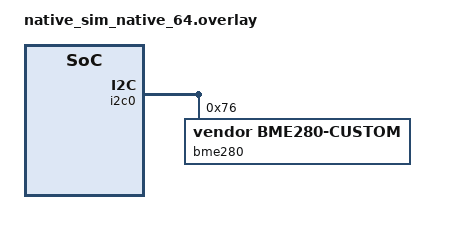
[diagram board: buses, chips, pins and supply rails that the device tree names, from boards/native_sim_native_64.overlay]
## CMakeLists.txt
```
# CMakeLists.txt — zephyr-edge-platform firmware application
#
# Application is the west manifest repository (T2 topology). The custom BME280
# driver lives in drivers/ as a standalone Zephyr module; we register it via
# ZEPHYR_EXTRA_MODULES *before* find_package(Zephyr) so its Kconfig, CMake, and
# devicetree bindings are picked up by the build.

cmake_minimum_required(VERSION 3.20.0)

# Register the in-repo driver module (drivers/zephyr/module.yml).
list(APPEND ZEPHYR_EXTRA_MODULES ${CMAKE_CURRENT_SOURCE_DIR}/drivers)

find_package(Zephyr REQUIRED HINTS $ENV{ZEPHYR_BASE})
project(zephyr_edge_platform)

target_sources(app PRIVATE
  src/main.c
  src/sensor_log.c
  src/power_sched.c
  src/telemetry/telemetry.c
  src/telemetry/telemetry_cbor.c
  src/ota/ota_update.c
  src/fault_inject.c
)

target_include_directories(app PRIVATE src src/telemetry src/ota)
```

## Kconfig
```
# Kconfig — zephyr-edge-platform application (top-level).
#
# The custom BME280 driver's symbols (BME280_CUSTOM / BME280_CUSTOM_EMUL) live
# in the driver module's Kconfig and are sourced automatically by the Zephyr
# build via the module system. Application-level symbols are in Kconfig.appdefs,
# which is also sourced by the ztest suites so they share one definition.

mainmenu "Zephyr Edge Platform"

source "Kconfig.zephyr"
source "$(APPLICATION_SOURCE_DIR)/Kconfig.appdefs"
```

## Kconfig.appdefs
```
# Kconfig.appdefs — application-level config symbols shared by the main app and
# the ztest suites. Contains only symbol definitions (no mainmenu, no
# `source "Kconfig.zephyr"`); the sourcing Kconfig file provides those.

config DEVICE_ID
	string "Device identifier"
	default "native-sim-001"
	help
	  Stable string identifier embedded in every telemetry payload
	  (telemetry map key 1). Fleet simulator devices use fleet-sim-<N>.

config SENSOR_LOG_BUF_SIZE
	int "Sensor log ring buffer size (bytes)"
	default 4096
	range 256 1048576
	help
	  Size in bytes of the ring buffer that stores timestamped BME280
	  readings before telemetry publication. Each record is
	  sizeof(struct sensor_reading) (24 bytes on the default 64-bit
	  native_sim target), so the 4096-byte default holds ~170 records.
	  Overflow overwrites the oldest record.

config POWER_ACTIVE_MS
	int "Power scheduler active window (ms)"
	default 5000
	range 1 3600000
	help
	  Duration of the active window each cycle: CPU runs, sensor is
	  sampled and logged.

config POWER_IDLE_MS
	int "Power scheduler idle window (ms)"
	default 100
	range 0 3600000
	help
	  Duration of the runtime-idle window between active and sleep.

config POWER_SLEEP_MS
	int "Power scheduler sleep window (ms)"
	default 5000
	range 0 3600000
	help
	  Duration of the suspend-to-idle sleep window each cycle. With the
	  defaults the device is active 5s then sleeps 5s (about 50% duty
	  cycle). Longer sleep windows save power but reduce telemetry rate and
	  command responsiveness; the MQTT session is still serviced every
	  CONFIG_POWER_SERVICE_INTERVAL_MS during sleep.

config POWER_SERVICE_INTERVAL_MS
	int "Power scheduler service-callback interval (ms)"
	default 100
	range 10 5000
	help
	  During the sleep window the scheduler invokes the registered service
	  callback (telemetry_process) at this interval, so MQTT keepalive,
	  PUBACK, and OTA frames are handled without waiting for the next full
	  wake cycle.

config MQTT_BROKER_HOST
	string "MQTT broker IPv4 address"
	default "192.0.2.2"
	help
	  IPv4 address of the MQTT broker the telemetry publisher connects to.
	  The default (192.0.2.2) is the standard Zephyr native host-bridge
	  address used by net-setup.sh / the docker-compose e2e stack; override
	  it for a different network topology. native_sim reaches the host
	  broker through the TAP ethernet driver (CONFIG_ETH_NATIVE_POSIX), so
	  live publication requires host-side bridge setup (see infra/README.md).

config MQTT_BROKER_PORT
	int "MQTT broker port"
	default 8883 if MQTT_TLS
	default 1883
	range 1 65535
	help
	  TCP port of the MQTT broker. The default is 8883 with MQTT_TLS and
	  1883 for explicitly unencrypted builds.

config MQTT_TLS
	bool "MQTT over TLS"
	default y
	help
	  Connect with TLS using the embedded development CA certificate. The
	  broker certificate must chain to it and must match
	  MQTT_TLS_SERVER_NAME. Disable only for an isolated, explicitly
	  unencrypted test setup.

config MQTT_TLS_SERVER_NAME
	string "MQTT TLS server name (SNI/certificate verification)"
	default "broker"
	depends on MQTT_TLS
	help
	  Hostname presented in SNI and matched against the server certificate.
	  The committed dev certificate includes DNS:broker, DNS:mosquitto,
	  DNS:localhost, and the native_sim TAP addresses.

config MQTT_USERNAME
	string "MQTT username"
	default "edge-device"
	help
	  Username sent in CONNECT. Change for any real deployment; the
	  committed password file is development-only.

config MQTT_PASSWORD
	string "MQTT password"
	default "change-me"
	help
	  Password sent in CONNECT. The committed credentials are for the local
	  development stack only; use a secret for real deployments.

config MQTT_TELEMETRY_TOPIC_FMT
	string "Telemetry topic format (printf-style, one %s = device_id)"
	default "telemetry/%s"
	help
	  printf-style topic the telemetry publisher publishes to. The single
	  %s is replaced with CONFIG_DEVICE_ID, yielding e.g.
	  telemetry/native-sim-001. The cloud ingestion service
	  subscribes to the matching wildcard (telemetry/+).

config MQTT_CONNECT_TIMEOUT_MS
	int "MQTT connect timeout (ms)"
	default 5000
	range 100 60000
	help
	  How long telemetry_connect() waits for CONNACK before giving up and
	  returning -ETIMEDOUT. Connection is non-fatal: the application keeps
	  sampling/logging and retries on the next cycle.

config TELEMETRY_RX_PAYLOAD_MAX
	int "Maximum inbound PUBLISH payload read in one event (bytes)"
	default 600
	range 64 4096
	help
	  telemetry.c reads inbound PUBLISH payloads from the socket into a
	  fixed buffer before dispatching them to the registered handler (OTA).
	  Must be at least CONFIG_OTA_CHUNK_SIZE + 1 for OTA data frames; larger
	  payloads are drained and discarded with a warning.

# --- Phase 3: OTA ---

config OTA_CMD_TOPIC_FMT
	string "OTA command topic format (printf-style, one %s = device_id)"
	default "cmd/%s/ota"
	help
	  printf-style topic the OTA subscriber listens on for firmware update
	  frames. The single %s is replaced with CONFIG_DEVICE_ID, yielding
	  e.g. cmd/native-sim-001/ota (docs/DATA_MODEL.md §4). Frames are one
	  byte of opcode plus an optional big-endian size or raw image chunk;
	  see docs/OTA.md.

config OTA_MAX_IMAGE_SIZE
	int "Maximum OTA firmware image size (bytes)"
	default 262144
	range 4096 1048576
	help
	  Maximum size of a firmware image accepted via OTA. Images larger than
	  this are rejected before any flash writes begin.

config OTA_CHUNK_SIZE
	int "OTA flash write chunk size (bytes)"
	default 512
	range 64 4096
	help
	  Size of each chunk written to the flash simulator during OTA image
	  reception. Must be a multiple of the flash write block size.

# --- Phase 3: Fault injection ---

config FAULT_INJECT
	bool "Fault injection framework"
	default n
	help
	  Enable the fault injection framework. Individual fault modes are
	  gated by their own Kconfig symbols below. The main application keeps
	  this off by default; the fault_inject ztest suite enables it and all
	  modes. When disabled, all fault_inject_*() calls compile to no-ops.

config FAULT_INJECT_SENSOR_FAIL
	bool "Inject sensor read failures"
	default n
	depends on FAULT_INJECT
	help
	  When enabled, the application's sample path checks
	  fault_inject_sensor_check() before sensor_sample_fetch() and skips
	  the sample with -EIO, simulating a sensor hardware failure.

config FAULT_INJECT_FLASH_CORRUPT
	bool "Inject flash corruption"
	default n
	depends on FAULT_INJECT
	help
	  When enabled, OTA image bytes written to flash are inverted to
	  simulate flash media degradation (fault_inject_flash_corrupt_byte()
	  is applied in ota_write_chunk()).

config FAULT_INJECT_DROP_PACKETS
	bool "Inject MQTT packet drops"
	default n
	depends on FAULT_INJECT
	help
	  When enabled, the application's telemetry drain loop skips MQTT
	  publishes (the reading is still consumed) to simulate network packet
	  loss; the drop is logged and counted.
```

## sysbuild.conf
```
# Build the real bootloader path:
#   west build -b nrf52840dk/nrf52840 --sysbuild -d build-hil firmware
# MCUboot verifies the signed application and performs the swap on reboot.
SB_CONFIG_BOOTLOADER_MCUBOOT=y
```

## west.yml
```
# west.yml — zephyr-edge-platform firmware workspace manifest
#
# `firmware/` is the west manifest repository. Initialize the workspace from
# the monorepo root with:   west init -l firmware   (see ../justfile `init`)
# `west update` then clones Zephyr (and its imported modules) as siblings of
# firmware/. The custom BME280 driver is a local Zephyr module under
# firmware/drivers/ and is registered via ZEPHYR_EXTRA_MODULES in CMakeLists.txt
# (it is NOT a west project, so it needs no entry here).

manifest:
  remotes:
    - name: zephyrproject-rtos
      url-base: https://github.com/zephyrproject-rtos

  projects:
    - name: zephyr
      remote: zephyrproject-rtos
      revision: v4.1.0
      # `import: true` pulls in Zephyr's own module list (HALs, crypto, etc.)
      # required by the build system even for native_sim.
      import: true
```

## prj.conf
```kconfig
# prj.conf — zephyr-edge-platform firmware (native_sim)
#
# Subsystem enablement for Phase 1: custom BME280 I2C sensor driver, I2C
# emulator (native_sim), ring-buffered sensor logging, low-power scheduler,
# and logging.
#
# Power management note: CONFIG_PM depends on HAS_PM, which native_sim does not
# select, so the Zephyr PM policy calls in power_sched.c compile out on
# native_sim (guarded by `#if defined(CONFIG_PM)`). The scheduler still cycles
# ACTIVE -> IDLE -> SLEEP and tracks per-state time in software. The current
# nRF52840 Zephyr config does not select HAS_PM either, so the numbers remain a
# software time distribution; real current measurement needs a PPK2.

# --- Logging ---
CONFIG_LOG=y
CONFIG_LOG_DEFAULT_LEVEL=3

# --- Sensor subsystem + custom BME280 driver ---
CONFIG_SENSOR=y
CONFIG_BME280_CUSTOM=y

# --- I2C bus + native_sim I2C emulator ---
CONFIG_I2C=y
CONFIG_I2C_EMUL=y
CONFIG_EMUL=y
CONFIG_BME280_CUSTOM_EMUL=y

# --- Ring buffer (sensor_log) ---
CONFIG_RING_BUFFER=y

# --- Console so `just run` shows the app loop on stdout (native_sim) ---
CONFIG_CONSOLE=y

# --- Phase 2: MQTT telemetry (CBOR-encoded) ---
# CBOR encoder library (zcbor; CONFIG_ZCBOR) for the telemetry payload
# (docs/DATA_MODEL.md).
CONFIG_ZCBOR=y

# Zephyr MQTT client library (selects NET_SOCKETS) + TLS.
CONFIG_MQTT_LIB=y
CONFIG_MQTT_LIB_TLS=y
CONFIG_NET_SOCKETS_SOCKOPT_TLS=y
CONFIG_TLS_CREDENTIALS=y
CONFIG_MBEDTLS=y
CONFIG_MBEDTLS_BUILTIN=y
CONFIG_MBEDTLS_ENABLE_HEAP=y
CONFIG_MBEDTLS_HEAP_SIZE=30000
CONFIG_MBEDTLS_SSL_MAX_CONTENT_LEN=4096
CONFIG_MBEDTLS_PEM_CERTIFICATE_FORMAT=y
# TLS 1.2 ECDHE-RSA (the Mosquitto default cipher set is not RSA-only).
CONFIG_MBEDTLS_ECP_C=y
CONFIG_MBEDTLS_ECDH_C=y
CONFIG_MBEDTLS_ECP_DP_SECP256R1_ENABLED=y
CONFIG_MBEDTLS_KEY_EXCHANGE_ECDHE_RSA_ENABLED=y

# Native networking stack for native_sim (telemetry.c uses the native
# zsock_* socket API). The board defaults to the TAP ethernet driver
# (CONFIG_ETH_NATIVE_POSIX) when NETWORKING is enabled, so live publication to
# a host broker requires the host-side bridge (see infra/README.md and the
# plan's documented limitation).
CONFIG_NETWORKING=y
CONFIG_NET_NATIVE=y
CONFIG_NET_SOCKETS=y
CONFIG_NET_TCP=y
CONFIG_NET_IPV4=y
CONFIG_NET_UDP=n

# Static IPv4 config: device 192.0.2.1, host/gateway 192.0.2.2 (the standard
# Zephyr native net-setup topology; the broker is reached at the gateway).
CONFIG_NET_CONFIG_SETTINGS=y
CONFIG_NET_CONFIG_MY_IPV4_ADDR="192.0.2.1"
CONFIG_NET_CONFIG_PEER_IPV4_ADDR="192.0.2.2"

# Random/entropy for the network stack on native_sim.
CONFIG_TEST_RANDOM_GENERATOR=y

# Networking + MQTT + OTA need a larger main stack than the sensor loop,
# especially on 64-bit targets.
CONFIG_MAIN_STACK_SIZE=16384

# --- Phase 3: MCUboot OTA (native_sim simulation) ---
# Flash simulator for OTA image staging on native_sim.
CONFIG_FLASH_SIMULATOR=y

# MCUboot image manager (img_manager) for image validation and swap control.
# Note: CONFIG_BOOTLOADER_MCUBOOT is NOT enabled on native_sim because it
# requires HAS_FLASH_LOAD_OFFSET which native_sim does not provide. The OTA
# module uses the img_manager API directly for simulation purposes.
CONFIG_IMG_MANAGER=y
CONFIG_IMG_BLOCK_BUF_SIZE=512
# Erase slot1 pages as chunks arrive (required for NOR flash and the simulator).
CONFIG_IMG_ERASE_PROGRESSIVELY=y

# Stream flash for chunked OTA image writes.
CONFIG_STREAM_FLASH=y

# Flash subsystem (required by IMG_MANAGER and STREAM_FLASH).
CONFIG_FLASH=y
CONFIG_FLASH_MAP=y
CONFIG_FLASH_PAGE_LAYOUT=y

# --- Phase 3: Fault injection (Kconfig-gated) ---
# The framework is compiled out of the production app by default. The
# fault_inject ztest suite enables the framework and all fault modes.
CONFIG_FAULT_INJECT=n
```

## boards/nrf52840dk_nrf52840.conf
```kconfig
# nRF52840 DK hardware build.
#
# Disable native_sim-only emulators/simulators. The default sysbuild path adds
# MCUboot; see firmware/sysbuild.conf and tests/hil/README.md.
#
# CONFIG_PM is left to the SoC; power_sched's PM guards compile out when the
# target does not select HAS_PM (as with this Zephyr nRF52840 config).

CONFIG_PM_DEVICE=y

CONFIG_I2C_EMUL=n
CONFIG_EMUL=n
CONFIG_BME280_CUSTOM_EMUL=n
CONFIG_FLASH_SIMULATOR=n
CONFIG_TEST_RANDOM_GENERATOR=n
CONFIG_NET_NATIVE=n
```

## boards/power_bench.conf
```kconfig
# power_bench.conf — short power-scheduler windows for the host benchmark.
#
# tests/scripts/power_bench.sh runs the native_sim binary for a few seconds and
# parses the cumulative "power:" log lines. The default 10s cycle would produce
# no samples in that window, so `just power-bench` builds with this overlay.
CONFIG_POWER_ACTIVE_MS=500
CONFIG_POWER_IDLE_MS=100
CONFIG_POWER_SLEEP_MS=500
```

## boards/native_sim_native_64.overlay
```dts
/*
 * native_sim.overlay — BME280 device instance on the native_sim I2C emulator.
 *
 * native_sim's board DTS already provides an I2C emulator controller at &i2c0
 * (compatible "zephyr,i2c-emul-controller", enabled by CONFIG_I2C_EMUL). We
 * attach the BME280 child node at I2C address 0x76; it is backed by the custom
 * driver's emulator (drivers/sensor/bme280_custom/bme280_emul.c), which presents
 * a full BME280 register file with calibration + raw ADC values that compensate
 * to known physical values (see docs/DATA_MODEL.md and the bme280 ztest).
 */

&i2c0 {
	status = "okay";

	bme280@76 {
		compatible = "vendor,bme280-custom";
		reg = <0x76>;
		status = "okay";
	};
};
```

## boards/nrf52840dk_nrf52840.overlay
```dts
/*
 * nRF52840 DK: real MCUboot layout + BME280 on the Arduino I2C header.
 *
 * slot0/slot1 are 448 KiB each; the app links at slot0. MCUboot uses the
 * default swap-using-move mode from firmware/sysbuild.conf and verifies the
 * signed image before booting it.
 */
/delete-node/ &boot_partition;
/delete-node/ &slot0_partition;
/delete-node/ &slot1_partition;

/ {
	chosen {
		zephyr,code-partition = &slot0_partition;
	};
};

&i2c0 {
	status = "okay";

	bme280@76 {
		compatible = "vendor,bme280-custom";
		reg = <0x76>;
		status = "okay";
	};
};

&flash0 {
	partitions {
		compatible = "fixed-partitions";
		#address-cells = <1>;
		#size-cells = <1>;

		boot_partition: partition@0 {
			label = "mcuboot";
			reg = <0x00000000 0x00010000>;
		};
		slot0_partition: partition@10000 {
			label = "image-0";
			reg = <0x00010000 0x00070000>;
		};
		slot1_partition: partition@80000 {
			label = "image-1";
			reg = <0x00080000 0x00070000>;
		};
		scratch_partition: partition@f0000 {
			label = "image-scratch";
			reg = <0x000f0000 0x00010000>;
		};
	};
};
```

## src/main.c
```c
/*
 * main.c — zephyr-edge-platform application loop.
 *
 * Wires the platform subsystems together:
 *   1. Custom BME280 I2C sensor driver  (drivers/sensor/bme280_custom)
 *   2. Ring-buffered sensor logging      (sensor_log.c)
 *   3. Low-power sleep/wake scheduler    (power_sched.c)
 *   4. MQTT/CBOR telemetry publisher     (telemetry/, Phase 2)
 *   5. MQTT-triggered OTA receiver       (ota/ota_update.c, Phase 3)
 *   6. Kconfig-gated fault-injection hooks (fault_inject.c)
 *
 * Each wake cycle, the power scheduler invokes an active-window callback that
 * samples the BME280 and pushes a timestamped reading into the ring buffer.
 * The main loop then drains the ring buffer and publishes each reading as a
 * CBOR-encoded MQTT telemetry message (docs/DATA_MODEL.md §1) to
 * telemetry/<device_id>, then services the MQTT connection (keepalive,
 * PUBACK, inbound OTA frames) and logs power-state statistics.
 *
 * During the sleep window the scheduler calls telemetry_process() every
 * CONFIG_POWER_SERVICE_INTERVAL_MS so OTA frames and keepalive are handled even
 * while the CPU is mostly asleep.
 *
 * Telemetry is best-effort: if the broker is unreachable (e.g. native_sim
 * without host TAP/bridge setup), readings stay queued in the ring buffer and
 * the sensor / logging / power loop continues unaffected.
 *
 * Log values are printed in integer milli-units to avoid pulling in floating
 * point printf support on the console.
 */

#include <stdio.h>

#include <zephyr/device.h>
#include <zephyr/drivers/sensor.h>
#include <zephyr/kernel.h>
#include <zephyr/logging/log.h>

#include "fault_inject.h"
#include "ota/ota_update.h"
#include "power_sched.h"
#include "sensor_log.h"
#include "telemetry.h"

LOG_MODULE_REGISTER(APP, CONFIG_LOG_DEFAULT_LEVEL);

static const struct device *const bme280 =
	DEVICE_DT_GET_ONE(vendor_bme280_custom);

/* One reading retained across a failed publish attempt so it is not lost. */
static struct sensor_reading pending_reading;
static bool pending_valid;
static uint32_t telemetry_dropped;

/* Active-window callback: sample the BME280 and store a reading. */
static void sample_and_log(void *user_data)
{
	ARG_UNUSED(user_data);
	struct sensor_value temp;
	struct sensor_value hum;
	struct sensor_value press;

	if (fault_inject_sensor_check() != 0) {
		LOG_WRN("sensor fault injected — skipping sample");
		return;
	}

	if (sensor_sample_fetch(bme280) < 0) {
		LOG_ERR("BME280 sample_fetch failed");
		return;
	}
	if (sensor_channel_get(bme280, SENSOR_CHAN_AMBIENT_TEMP, &temp) < 0 ||
	    sensor_channel_get(bme280, SENSOR_CHAN_HUMIDITY, &hum) < 0 ||
	    sensor_channel_get(bme280, SENSOR_CHAN_PRESS, &press) < 0) {
		LOG_ERR("BME280 channel_get failed");
		return;
	}

	struct sensor_reading reading = {
		.timestamp_ms = k_uptime_get(),
		.temperature_mc = (int32_t)(sensor_value_to_double(&temp) * 1000.0),
		.humidity_mpct = (int32_t)(sensor_value_to_double(&hum) * 1000.0),
		.pressure_pa = (int32_t)(sensor_value_to_double(&press) * 1000.0),
	};

	if (sensor_log_put(&reading) == 0) {
		LOG_INF("sample: T=%d mC  H=%d m%%RH  P=%d Pa", reading.temperature_mc,
			reading.humidity_mpct, reading.pressure_pa);
	}
}

/* Sleep-window service callback: keep the MQTT session responsive. */
static void service_telemetry(void *user_data)
{
	ARG_UNUSED(user_data);
	telemetry_process();
}

/*
 * Publish one reading. Returns 0 if the reading was consumed (published or
 * dropped by fault injection), negative errno if it must be retried.
 */
static int publish_reading(const struct sensor_reading *reading,
			   const struct power_stats *stats)
{
	if (fault_inject_should_drop_packet()) {
		telemetry_dropped++;
		LOG_DBG("packet fault injected — dropping publish");
		return 0;
	}

	int rc = telemetry_publish_reading(reading, stats,
					   (uint32_t)power_sched_state());

	if (rc != 0) {
		LOG_WRN("telemetry publish failed: %d", rc);
		return rc;
	}

	return 0;
}

/*
 * Drain the ring buffer and publish each reading as CBOR telemetry. Attempts a
 * (re)connect once per call when disconnected; if the broker is still
 * unreachable the ring buffer is left intact for the next cycle.
 */
static void drain_and_publish(void)
{
	struct power_stats st;

	if (!telemetry_is_connected() && telemetry_connect() != 0) {
		/* Keep readings queued instead of popping and discarding them. */
		telemetry_process();
		return;
	}

	power_sched_get_stats(&st);

	if (pending_valid) {
		if (publish_reading(&pending_reading, &st) != 0) {
			return;
		}
		LOG_INF("[telemetry] retried pending reading ts=%lld ms",
			(long long)pending_reading.timestamp_ms);
		pending_valid = false;
	}

	struct sensor_reading reading;

	while (sensor_log_get(&reading) == 0) {
		if (publish_reading(&reading, &st) != 0) {
			pending_reading = reading;
			pending_valid = true;
			break;
		}
		LOG_INF("[telemetry] published ts=%lld ms T=%d mC H=%d m%%RH "
			"P=%d Pa",
			(long long)reading.timestamp_ms, reading.temperature_mc,
			reading.humidity_mpct, reading.pressure_pa);
	}

	/* Drive keepalive + PUBACK + inbound PUBLISH processing. */
	telemetry_process();
}

/* Dispatch inbound OTA frames from the shared MQTT client. */
static bool on_telemetry_publish(const struct mqtt_topic *topic,
				 const uint8_t *payload, size_t len)
{
	if (!ota_matches_topic(topic)) {
		return false;
	}
	return ota_handle_frame(payload, len);
}

static void on_telemetry_connection(bool connected)
{
	if (connected) {
		ota_on_connected(telemetry_client());
	} else {
		ota_on_disconnected();
	}
}

int main(void)
{
	LOG_INF("zephyr-edge-platform starting (device_id=\"%s\")", CONFIG_DEVICE_ID);

	if (!device_is_ready(bme280)) {
		LOG_ERR("BME280 device not ready");
		return -ENODEV;
	}

	sensor_log_init();
	fault_inject_init();
	power_sched_init(sample_and_log, NULL);
	if (power_sched_set_service(service_telemetry, NULL, 0) != 0) {
		LOG_ERR("failed to register telemetry service callback");
		return -EINVAL;
	}

	/* MQTT telemetry + OTA receiver (best-effort connect). */
	telemetry_init();
	if (ota_init() != 0) {
		LOG_ERR("OTA init failed; OTA disabled");
	}
	telemetry_set_publish_handler(on_telemetry_publish);
	telemetry_set_connection_handler(on_telemetry_connection);
	(void)telemetry_connect();

	LOG_INF("entering wake/sample/log/sleep loop: %d ms active + %d ms idle + "
		"%d ms sleep per cycle; service every %d ms",
		CONFIG_POWER_ACTIVE_MS, CONFIG_POWER_IDLE_MS, CONFIG_POWER_SLEEP_MS,
		CONFIG_POWER_SERVICE_INTERVAL_MS);

	while (1) {
		power_sched_run_cycles(1);
		drain_and_publish();

		struct power_stats st;

		power_sched_get_stats(&st);
		LOG_INF("power: cycles=%u active=%llu ms idle=%llu ms sleep=%llu ms "
			"(ring_dropped=%u pub_dropped=%u)",
			st.cycles, (unsigned long long)st.active_ms,
			(unsigned long long)st.idle_ms,
			(unsigned long long)st.sleep_ms, sensor_log_dropped(),
			telemetry_dropped);
	}

	return 0;
}
```

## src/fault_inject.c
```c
/*
 * fault_inject.c — Fault injection framework (Kconfig-gated).
 *
 * Implements the runtime fault injection hooks described in fault_inject.h.
 * Each fault mode is independently gated at compile time (Kconfig) and at
 * runtime (atomic flag). When CONFIG_FAULT_INJECT is disabled, the entire
 * file compiles to empty stubs via the #if guard.
 */

#include <errno.h>
#include <string.h>

#include <zephyr/kernel.h>
#include <zephyr/logging/log.h>

#include "fault_inject.h"

#if defined(CONFIG_FAULT_INJECT)

LOG_MODULE_REGISTER(FAULT_INJECT, CONFIG_LOG_DEFAULT_LEVEL);

/* Runtime enable flags for each fault mode (atomic for thread safety). */
static atomic_t fault_flags[FAULT_MODE_COUNT];

int fault_inject_init(void)
{
	for (int i = 0; i < FAULT_MODE_COUNT; i++) {
		atomic_set(&fault_flags[i], 0);
	}
	LOG_INF("fault injection framework initialized");
	return 0;
}

void fault_inject_set(enum fault_mode mode, bool enabled)
{
	if (mode >= FAULT_MODE_COUNT) {
		return;
	}

#if defined(CONFIG_FAULT_INJECT_SENSOR_FAIL)
	if (mode == FAULT_MODE_SENSOR_FAIL) {
		atomic_set(&fault_flags[mode], enabled ? 1 : 0);
		LOG_INF("FAULT_MODE_SENSOR_FAIL %s", enabled ? "enabled" : "disabled");
		return;
	}
#endif

#if defined(CONFIG_FAULT_INJECT_FLASH_CORRUPT)
	if (mode == FAULT_MODE_FLASH_CORRUPT) {
		atomic_set(&fault_flags[mode], enabled ? 1 : 0);
		LOG_INF("FAULT_MODE_FLASH_CORRUPT %s", enabled ? "enabled" : "disabled");
		return;
	}
#endif

#if defined(CONFIG_FAULT_INJECT_DROP_PACKETS)
	if (mode == FAULT_MODE_DROP_PACKETS) {
		atomic_set(&fault_flags[mode], enabled ? 1 : 0);
		LOG_INF("FAULT_MODE_DROP_PACKETS %s", enabled ? "enabled" : "disabled");
		return;
	}
#endif

	/* Mode not compiled in — silently ignore. */
	ARG_UNUSED(enabled);
}

bool fault_inject_is_active(enum fault_mode mode)
{
	if (mode >= FAULT_MODE_COUNT) {
		return false;
	}
	return atomic_get(&fault_flags[mode]) != 0;
}

int fault_inject_sensor_check(void)
{
#if defined(CONFIG_FAULT_INJECT_SENSOR_FAIL)
	if (atomic_get(&fault_flags[FAULT_MODE_SENSOR_FAIL]) != 0) {
		LOG_DBG("fault injected: sensor read failure");
		return -EIO;
	}
#endif
	return 0;
}

uint8_t fault_inject_flash_corrupt_byte(uint8_t byte)
{
#if defined(CONFIG_FAULT_INJECT_FLASH_CORRUPT)
	if (atomic_get(&fault_flags[FAULT_MODE_FLASH_CORRUPT]) != 0) {
		/* Invert all bits to simulate flash corruption. */
		return (uint8_t)(~byte);
	}
#endif
	return byte;
}

bool fault_inject_should_drop_packet(void)
{
#if defined(CONFIG_FAULT_INJECT_DROP_PACKETS)
	if (atomic_get(&fault_flags[FAULT_MODE_DROP_PACKETS]) != 0) {
		LOG_DBG("fault injected: packet dropped");
		return true;
	}
#endif
	return false;
}

void fault_inject_reset(void)
{
	for (int i = 0; i < FAULT_MODE_COUNT; i++) {
		atomic_set(&fault_flags[i], 0);
	}
	LOG_DBG("all fault modes reset");
}

#else /* !CONFIG_FAULT_INJECT */

/* Stubs when the framework is disabled: zero overhead. */

int fault_inject_init(void) { return 0; }
void fault_inject_set(enum fault_mode mode, bool enabled)
{
	ARG_UNUSED(mode);
	ARG_UNUSED(enabled);
}
bool fault_inject_is_active(enum fault_mode mode)
{
	ARG_UNUSED(mode);
	return false;
}
int fault_inject_sensor_check(void) { return 0; }
uint8_t fault_inject_flash_corrupt_byte(uint8_t byte) { return byte; }
bool fault_inject_should_drop_packet(void) { return false; }
void fault_inject_reset(void) {}

#endif /* CONFIG_FAULT_INJECT */
```

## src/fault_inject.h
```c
/*
 * fault_inject.h — Fault injection framework (Kconfig-gated).
 *
 * Provides runtime-controllable fault injection for testing resilience:
 *   - CONFIG_FAULT_INJECT_SENSOR_FAIL: sensor reads return -EIO
 *   - CONFIG_FAULT_INJECT_FLASH_CORRUPT: flash writes are silently corrupted
 *   - CONFIG_FAULT_INJECT_DROP_PACKETS: MQTT publishes are silently dropped
 *
 * When CONFIG_FAULT_INJECT is disabled, all fault_inject_*() calls compile to
 * no-ops (zero overhead). Individual fault modes are further gated by their
 * own Kconfig symbols.
 *
 * Usage:
 *   fault_inject_init();                          // once at startup
 *   fault_inject_set(FAULT_MODE_SENSOR_FAIL, true);  // enable sensor failures
 *   ... run tests ...
 *   fault_inject_set(FAULT_MODE_SENSOR_FAIL, false); // disable
 *
 * The ztest suite enables each mode, exercises the affected path, and asserts
 * the expected failure behavior.
 */
#ifndef ZEPHYR_EDGE_PLATFORM_FAULT_INJECT_H_
#define ZEPHYR_EDGE_PLATFORM_FAULT_INJECT_H_

#include <stdbool.h>
#include <stdint.h>

/* Fault injection modes. */
enum fault_mode {
	FAULT_MODE_SENSOR_FAIL = 0,   /* Sensor reads return -EIO          */
	FAULT_MODE_FLASH_CORRUPT,     /* Flash writes are corrupted        */
	FAULT_MODE_DROP_PACKETS,      /* MQTT publishes are dropped        */
	FAULT_MODE_COUNT,             /* Number of fault modes             */
};

/*
 * Initialize the fault injection framework. All modes start disabled.
 * Idempotent. Returns 0 on success.
 */
int fault_inject_init(void);

/*
 * Enable or disable a fault mode at runtime. Only effective when the
 * corresponding Kconfig symbol is enabled; otherwise a no-op.
 */
void fault_inject_set(enum fault_mode mode, bool enabled);

/* Query whether a fault mode is currently active. */
bool fault_inject_is_active(enum fault_mode mode);

/*
 * Sensor fault hook: call before/instead of sensor_sample_fetch().
 * Returns -EIO if FAULT_MODE_SENSOR_FAIL is active, 0 otherwise.
 */
int fault_inject_sensor_check(void);

/*
 * Flash corruption hook: call on each byte before writing to flash.
 * Returns the (possibly corrupted) byte value.
 */
uint8_t fault_inject_flash_corrupt_byte(uint8_t byte);

/*
 * Packet drop hook: call before mqtt_publish().
 * Returns true if the packet should be dropped (caller returns 0 without
 * sending), false if the packet should proceed normally.
 */
bool fault_inject_should_drop_packet(void);

/* Reset all fault modes to disabled (for testing). */
void fault_inject_reset(void);

#endif /* ZEPHYR_EDGE_PLATFORM_FAULT_INJECT_H_ */
```

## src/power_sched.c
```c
/*
 * power_sched.c — Low-power sleep/wake scheduler (Zephyr PM subsystem).
 *
 * Implements the wake -> sample -> log -> sleep cycle described in
 * power_sched.h. A PM policy lock keeps the CPU awake during the active/idle
 * windows and is released during the sleep window so the PM subsystem may
 * suspend. The lock is tracked so it is acquired/released exactly once per
 * transition (balanced even when CONFIG_PM is enabled on real hardware).
 *
 * All window durations are runtime-configurable to keep the ztest suite fast and
 * deterministic. power_sched_init() (re)configures the callback and zeroes the
 * counters on every call so the suite can establish a clean slate per test.
 */

#include <errno.h>
#include <string.h>

#include <zephyr/kernel.h>
#include <zephyr/logging/log.h>

#if defined(CONFIG_PM)
#include <zephyr/pm/pm.h>
#include <zephyr/pm/policy.h>
#endif

#include "power_sched.h"

LOG_MODULE_REGISTER(POWER_SCHED, CONFIG_LOG_DEFAULT_LEVEL);

static power_sched_active_fn active_cb;
static void *active_user_data;

static power_sched_service_fn service_cb;
static void *service_user_data;
static uint32_t service_interval_ms = CONFIG_POWER_SERVICE_INTERVAL_MS;

static uint32_t active_ms = CONFIG_POWER_ACTIVE_MS;
static uint32_t idle_ms = CONFIG_POWER_IDLE_MS;
static uint32_t sleep_ms = CONFIG_POWER_SLEEP_MS;

static struct power_stats stats;
static atomic_t current_state = POWER_STATE_ACTIVE;
static bool initialized;
static bool awake_lock_held;

/* Background thread bookkeeping. */
static K_THREAD_STACK_DEFINE(sched_stack, 2048);
static struct k_thread sched_thread;
static k_tid_t sched_tid;
static atomic_t stop_requested;

/* --- PM policy helpers (no-ops when CONFIG_PM is disabled) --- */

static void prevent_suspend(void)
{
#if defined(CONFIG_PM)
	pm_policy_state_lock_get(PM_STATE_SUSPEND_TO_IDLE, PM_ALL_SUBSTATES);
#endif
}

static void allow_suspend(void)
{
#if defined(CONFIG_PM)
	pm_policy_state_lock_put(PM_STATE_SUSPEND_TO_IDLE, PM_ALL_SUBSTATES);
#endif
}

/* Idempotently drive the awake lock so get/put stay balanced. */
static void set_awake(bool awake)
{
	if (awake && !awake_lock_held) {
		prevent_suspend();
		awake_lock_held = true;
	} else if (!awake && awake_lock_held) {
		allow_suspend();
		awake_lock_held = false;
	}
}

/*
 * Sleep for `ms` milliseconds, returning the actual elapsed time. When
 * `service` is true and a service callback is registered, the sleep is split
 * into interval-sized chunks so MQTT input/keepalive and OTA frames are
 * handled during the sleep window without waiting for the next full wake.
 */
static uint64_t sleep_measure(uint32_t ms, bool service)
{
	int64_t start = k_uptime_get();
	uint32_t remaining = ms;

	if (ms == 0) {
		return 0;
	}

	if (!service || service_cb == NULL || service_interval_ms == 0) {
		k_msleep(ms);
	} else {
		while (remaining > 0) {
			uint32_t chunk = MIN(remaining, service_interval_ms);

			k_msleep(chunk);
			remaining -= chunk;
			service_cb(service_user_data);
		}
	}

	return (uint64_t)(k_uptime_get() - start);
}

int power_sched_init(power_sched_active_fn cb, void *user_data)
{
	active_cb = cb;
	active_user_data = user_data;
	service_cb = NULL;
	service_user_data = NULL;
	service_interval_ms = CONFIG_POWER_SERVICE_INTERVAL_MS;
	memset(&stats, 0, sizeof(stats));
	atomic_set(&current_state, POWER_STATE_ACTIVE);
	atomic_set(&stop_requested, 0);
	/* Default awake: hold the suspend lock until a sleep window releases it. */
	set_awake(true);
	initialized = true;
	LOG_INF("power_sched ready: active=%ums idle=%ums sleep=%ums", active_ms,
		idle_ms, sleep_ms);
	return 0;
}

void power_sched_set_durations(uint32_t a_ms, uint32_t i_ms, uint32_t s_ms)
{
	active_ms = a_ms;
	idle_ms = i_ms;
	sleep_ms = s_ms;
	LOG_DBG("durations set: active=%u idle=%u sleep=%u", a_ms, i_ms, s_ms);
}

int power_sched_set_service(power_sched_service_fn cb, void *user_data,
			    uint32_t interval_ms)
{
	if (cb == NULL) {
		return -EINVAL;
	}

	service_cb = cb;
	service_user_data = user_data;
	service_interval_ms = interval_ms != 0 ? interval_ms :
						 CONFIG_POWER_SERVICE_INTERVAL_MS;
	return 0;
}

static void run_one_cycle(void)
{
	/* ACTIVE: stay awake, do the active-window work (sample + log). */
	atomic_set(&current_state, POWER_STATE_ACTIVE);
	set_awake(true);
	if (active_cb != NULL) {
		active_cb(active_user_data);
	}
	stats.active_ms += sleep_measure(active_ms, false);

	/* IDLE: awake but quiescent (lock still held). */
	atomic_set(&current_state, POWER_STATE_IDLE);
	stats.idle_ms += sleep_measure(idle_ms, false);

	/* SLEEP: release the PM lock so the system may suspend-to-idle. */
	atomic_set(&current_state, POWER_STATE_SLEEP);
	set_awake(false);
	stats.sleep_ms += sleep_measure(sleep_ms, true);

	/* Awake again for the next cycle. */
	set_awake(true);
	stats.cycles++;
	LOG_DBG("cycle %u complete (a=%llu i=%llu s=%llu ms)", stats.cycles,
		stats.active_ms, stats.idle_ms, stats.sleep_ms);
}

int power_sched_run_cycles(uint32_t n)
{
	if (!initialized) {
		return -EAGAIN;
	}
	for (uint32_t i = 0; i < n; i++) {
		run_one_cycle();
	}
	return 0;
}

static void sched_thread_entry(void *a, void *b, void *c)
{
	ARG_UNUSED(a);
	ARG_UNUSED(b);
	ARG_UNUSED(c);

	while (!atomic_get(&stop_requested)) {
		run_one_cycle();
	}
}

int power_sched_start(void)
{
	if (!initialized) {
		return -EAGAIN;
	}
	if (sched_tid != NULL) {
		return -EALREADY;
	}
	atomic_set(&stop_requested, 0);
	sched_tid = k_thread_create(&sched_thread, sched_stack,
				    K_THREAD_STACK_SIZEOF(sched_stack),
				    sched_thread_entry, NULL, NULL, NULL,
				    K_PRIO_COOP(7), 0, K_NO_WAIT);
	k_thread_name_set(sched_tid, "power_sched");
	return 0;
}

void power_sched_stop(void)
{
	if (sched_tid == NULL) {
		return;
	}
	atomic_set(&stop_requested, 1);
	k_thread_join(sched_tid, K_FOREVER);
	sched_tid = NULL;
}

void power_sched_get_stats(struct power_stats *out)
{
	if (out == NULL) {
		return;
	}
	out->active_ms = stats.active_ms;
	out->idle_ms = stats.idle_ms;
	out->sleep_ms = stats.sleep_ms;
	out->cycles = stats.cycles;
}

enum power_state power_sched_state(void)
{
	return (enum power_state)atomic_get(&current_state);
}
```

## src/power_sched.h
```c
/*
 * power_sched.h — Low-power sleep/wake scheduler (Zephyr PM subsystem).
 *
 * Drives a periodic wake -> sample -> log -> sleep cycle. Each cycle has three
 * windows whose durations default to Kconfig values (CONFIG_POWER_ACTIVE_MS /
 * CONFIG_POWER_IDLE_MS / CONFIG_POWER_SLEEP_MS) and can be overridden at runtime
 * (used by the ztest suite to shrink cycles to milliseconds).
 *
 * Power-state policy:
 *   - ACTIVE / IDLE windows hold a PM policy lock that prevents suspend, so the
 *     CPU stays awake to sample and log.
 *   - SLEEP window releases the lock so the PM subsystem may enter
 *     suspend-to-idle, then re-acquires it on wake.
 *
 * Cumulative time spent in each state is tracked in struct power_stats for
 * telemetry / power benchmarks (see docs/DATA_MODEL.md key 8).
 */
#ifndef ZEPHYR_EDGE_PLATFORM_POWER_SCHED_H_
#define ZEPHYR_EDGE_PLATFORM_POWER_SCHED_H_

#include <stdbool.h>
#include <stdint.h>

enum power_state {
	POWER_STATE_ACTIVE = 0, /* CPU running, sensor sampling          */
	POWER_STATE_IDLE = 1,   /* runtime-idle / low-power idle window  */
	POWER_STATE_SLEEP = 2,  /* suspend-to-idle sleep window          */
};

struct power_stats {
	uint64_t active_ms; /* cumulative active-window time   */
	uint64_t idle_ms;   /* cumulative idle-window time     */
	uint64_t sleep_ms;  /* cumulative sleep-window time    */
	uint32_t cycles;    /* completed wake/sleep cycles     */
};

/* Callback invoked once per active window (e.g. to sample + log). Optional. */
typedef void (*power_sched_active_fn)(void *user_data);

/*
 * Callback invoked periodically during the sleep window (e.g. to service the
 * MQTT session). Runs while the PM suspend lock is released, so it must stay
 * short. Optional.
 */
typedef void (*power_sched_service_fn)(void *user_data);

/*
 * Initialize the scheduler. Registers the active-window callback (may be NULL).
 * Loads default window durations from Kconfig. Idempotent.
 */
int power_sched_init(power_sched_active_fn active_cb, void *user_data);

/* Override window durations (ms). Pass 0 for any window to skip it. */
void power_sched_set_durations(uint32_t active_ms, uint32_t idle_ms,
			       uint32_t sleep_ms);

/*
 * Register a service callback invoked every interval_ms during sleep windows.
 * Pass interval_ms = 0 to use CONFIG_POWER_SERVICE_INTERVAL_MS.
 * Returns 0 on success, -EINVAL for a NULL callback.
 */
int power_sched_set_service(power_sched_service_fn cb, void *user_data,
			    uint32_t interval_ms);

/*
 * Run exactly n wake/sleep cycles synchronously (blocking). Updates stats and
 * invokes the active callback once per cycle. Returns 0 on success. Used by the
 * application main loop and by the ztest suite.
 */
int power_sched_run_cycles(uint32_t n);

/* Start a background thread that runs cycles until power_sched_stop(). */
int power_sched_start(void);

/* Signal the background thread to stop and wait for it to exit. */
void power_sched_stop(void);

/* Snapshot cumulative power-state counters. */
void power_sched_get_stats(struct power_stats *out);

/* Current power state. */
enum power_state power_sched_state(void);

#endif /* ZEPHYR_EDGE_PLATFORM_POWER_SCHED_H_ */
```

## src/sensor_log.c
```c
/*
 * sensor_log.c — Ring-buffered, mutex-protected sensor reading storage.
 *
 * Built on the Zephyr sys_ring_buf byte ring (CONFIG_RING_BUFFER). Readings are
 * written/read as whole fixed-size records. A k_mutex serializes all access so
 * a producer (sampler) and consumer (telemetry publisher) can run concurrently.
 *
 * Overflow policy is overwrite-oldest: when there is not enough free space for
 * a new record, the oldest record(s) are discarded until the write fits. The
 * number of discarded records is tracked in a dropped counter for telemetry /
 * diagnostics.
 */

#include <errno.h>
#include <string.h>

#include <zephyr/kernel.h>
#include <zephyr/logging/log.h>
#include <zephyr/sys/ring_buffer.h>

#include "sensor_log.h"

LOG_MODULE_REGISTER(SENSOR_LOG, CONFIG_LOG_DEFAULT_LEVEL);

/* Byte ring sized by Kconfig (default 4096 bytes ~ 170 records). */
RING_BUF_DECLARE(sensor_log_rb, CONFIG_SENSOR_LOG_BUF_SIZE);

static struct k_mutex sensor_log_mutex;
static uint32_t dropped_count;
static bool initialized;

#define RECORD_SIZE ((uint32_t)sizeof(struct sensor_reading))

int sensor_log_init(void)
{
	if (initialized) {
		/* Keep the "fresh init" contract for tests and supervisors: a
		 * repeated init empties the log and clears diagnostics.
		 */
		k_mutex_lock(&sensor_log_mutex, K_FOREVER);
		ring_buf_reset(&sensor_log_rb);
		dropped_count = 0;
		k_mutex_unlock(&sensor_log_mutex);
		return 0;
	}
	k_mutex_init(&sensor_log_mutex);
	ring_buf_reset(&sensor_log_rb);
	dropped_count = 0;
	initialized = true;
	LOG_INF("sensor_log ready: capacity=%u records (%u bytes)",
		ring_buf_capacity_get(&sensor_log_rb) / RECORD_SIZE,
		CONFIG_SENSOR_LOG_BUF_SIZE);
	return 0;
}

int sensor_log_put(const struct sensor_reading *reading)
{
	if (reading == NULL) {
		return -EINVAL;
	}
	if (!initialized) {
		return -EAGAIN;
	}

	k_mutex_lock(&sensor_log_mutex, K_FOREVER);

	/* Overwrite-oldest: drop oldest records until the new one fits. */
	while (ring_buf_space_get(&sensor_log_rb) < RECORD_SIZE) {
		uint8_t discard[RECORD_SIZE];
		uint32_t n = ring_buf_get(&sensor_log_rb, discard, RECORD_SIZE);

		if (n == 0) {
			/* Should not happen: space < record but nothing to read. */
			break;
		}
		dropped_count++;
	}

	uint32_t written = ring_buf_put(&sensor_log_rb, (const uint8_t *)reading,
					RECORD_SIZE);

	k_mutex_unlock(&sensor_log_mutex);

	if (written != RECORD_SIZE) {
		LOG_ERR("ring_buf_put short write: %u/%u", written, RECORD_SIZE);
		return -ENOMEM;
	}
	return 0;
}

int sensor_log_get(struct sensor_reading *reading)
{
	if (reading == NULL) {
		return -EINVAL;
	}
	if (!initialized) {
		return -EAGAIN;
	}

	k_mutex_lock(&sensor_log_mutex, K_FOREVER);
	uint32_t n = ring_buf_get(&sensor_log_rb, (uint8_t *)reading, RECORD_SIZE);
	k_mutex_unlock(&sensor_log_mutex);

	if (n != RECORD_SIZE) {
		return -ENOENT; /* empty (or partial, which cannot occur here) */
	}
	return 0;
}

uint32_t sensor_log_count(void)
{
	k_mutex_lock(&sensor_log_mutex, K_FOREVER);
	uint32_t used = ring_buf_size_get(&sensor_log_rb);
	k_mutex_unlock(&sensor_log_mutex);
	return used / RECORD_SIZE;
}

uint32_t sensor_log_capacity(void)
{
	return ring_buf_capacity_get(&sensor_log_rb) / RECORD_SIZE;
}

uint32_t sensor_log_dropped(void)
{
	k_mutex_lock(&sensor_log_mutex, K_FOREVER);
	uint32_t d = dropped_count;
	k_mutex_unlock(&sensor_log_mutex);
	return d;
}

void sensor_log_reset(void)
{
	k_mutex_lock(&sensor_log_mutex, K_FOREVER);
	ring_buf_reset(&sensor_log_rb);
	k_mutex_unlock(&sensor_log_mutex);
}
```

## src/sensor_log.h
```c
/*
 * sensor_log.h — Ring-buffered, mutex-protected sensor reading storage.
 *
 * Stores fixed-size timestamped BME280 readings in a Zephyr sys_ring_buf,
 * serialized by a k_mutex so the sampler thread and the telemetry publisher
 * thread can operate concurrently. Overflow policy: overwrite oldest record
 * (the oldest reading is dropped to make room for the newest).
 *
 * Record layout matches docs/DATA_MODEL.md §2.
 */
#ifndef ZEPHYR_EDGE_PLATFORM_SENSOR_LOG_H_
#define ZEPHYR_EDGE_PLATFORM_SENSOR_LOG_H_

#include <stdint.h>

/* One timestamped sensor sample (24 bytes on 32-bit native_sim). */
struct sensor_reading {
	int64_t timestamp_ms;   /* k_uptime_get() at sample time        */
	int32_t temperature_mc; /* temperature, milli-degrees Celsius   */
	int32_t humidity_mpct;  /* relative humidity, milli-percent     */
	int32_t pressure_pa;    /* barometric pressure, pascals         */
};

/* Initialize the ring buffer and its protecting mutex. Idempotent. */
int sensor_log_init(void);

/*
 * Store a reading. If the buffer is full, the oldest reading(s) are dropped
 * to make room (overwrite-oldest policy). Returns 0 on success.
 */
int sensor_log_put(const struct sensor_reading *reading);

/*
 * Pop the oldest reading into *reading. Returns 0 on success, -ENOENT if the
 * buffer is empty.
 */
int sensor_log_get(struct sensor_reading *reading);

/* Number of readings currently stored. */
uint32_t sensor_log_count(void);

/* Maximum number of readings the buffer can hold. */
uint32_t sensor_log_capacity(void);

/* Number of readings dropped due to overflow since init/last reset. */
uint32_t sensor_log_dropped(void);

/* Discard all stored readings (does not reset the dropped counter). */
void sensor_log_reset(void);

#endif /* ZEPHYR_EDGE_PLATFORM_SENSOR_LOG_H_ */
```
